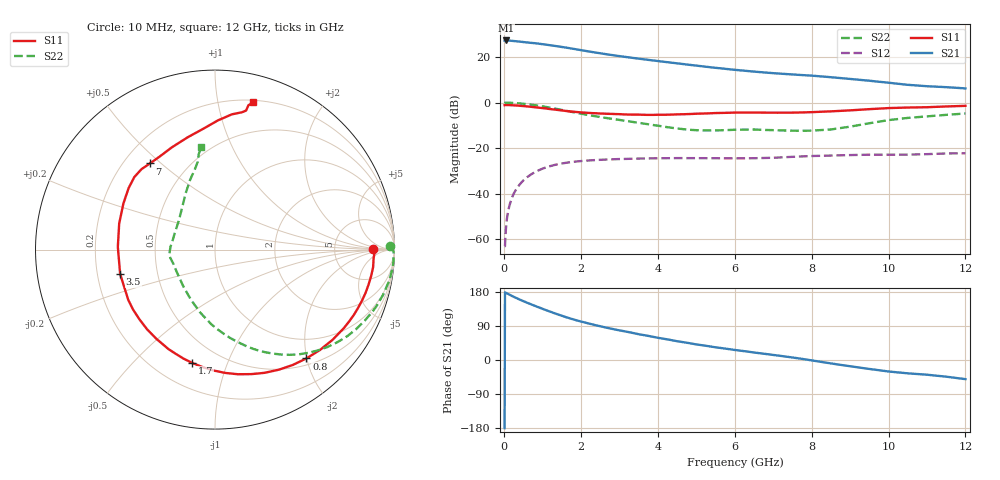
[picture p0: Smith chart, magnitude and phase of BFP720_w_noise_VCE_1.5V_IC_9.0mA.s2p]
! Infineon Technologies  Discrete & RF Semiconductors
! BFP720
! VCE =  1.5 V,  IC =  9.0 mA
! Common Emitter S-Parameters:  Aug 2012
# GHz  S  MA  R  50
!  f  S11  S21  S12  S22
! GHz  MAG  ANG  MAG  ANG  MAG  ANG  MAG  ANG
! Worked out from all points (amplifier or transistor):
!   105 points, 10 MHz to 12 GHz, reference 50 ohm
!   highest |S21| = 27.3 dB at 50 MHz (marker M1)
!   |S21| within 3 dB of that: start of sweep to 1.554 GHz
!   unconditionally stable (mu >= 1): 5.79 GHz to 11.5 GHz
!   at 300 MHz: K = 0.08, MSG = 32.7 dB, |S12| = -38.4 dB
!   at 3.6 GHz: K = 0.66, MSG = 21.8 dB, |S12| = -24.6 dB
!   at 12 GHz: K = 0.88, MSG = 14.3 dB, |S12| = -22.2 dB
!   lowest NFmin = 0.50 dB at 450 MHz
!   S11 on the Smith chart (normalised r, x): 10 MHz: 16, +0; 800 MHz: 0.61, -1.99; 1.7 GHz: 0.35, -0.76; 3.5 GHz: 0.30, -0.12; 7 GHz: 0.31, +0.46; 12 GHz: 0.21, +1.27
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0.01  0.8822 0.2  22.97 -179.7  0.0007 -41.5  0.9766 1.3
0.02  0.8884 -1.3  23 178.5  0.0007 98.4  0.9951 -0.7
0.05  0.8851 -3.2  23.29 177.0  0.0019 96.8  0.9952 -2.0
0.25  0.8729 -16.0  22.64 166.6  0.0101 81.4  0.9831 -10.8
0.4  0.8547 -25.3  21.97 159.6  0.0158 75.7  0.9605 -17.2
0.6  0.8256 -37.5  21.07 151.0  0.0231 68.8  0.9233 -25.4
0.8  0.7917 -50.0  20.28 142.8  0.0297 62.3  0.8804 -33.3
1  0.7578 -62.0  19.27 135.0  0.0355 56.1  0.8288 -40.9
1.2  0.7225 -73.8  18.27 127.4  0.0403 50.4  0.7745 -48.0
1.4  0.6896 -85.2  17.24 120.2  0.0444 45.1  0.7193 -54.6
1.7  0.6438 -101.4  15.74 110.2  0.0488 38.2  0.6395 -63.6
2.1  0.602 -119.0  13.79 98.9  0.0528 30.8  0.5512 -73.6
2.4  0.5835 -130.4  12.53 91.3  0.0549 26.3  0.4979 -80.5
2.7  0.5684 -140.5  11.46 84.5  0.0564 22.6  0.4541 -86.6
3.5  0.5457 -165.5  9.269 68.0  0.059 14.8  0.3608 -103.1
4.1  0.5414 175.7  8.024 56.9  0.06 10.3  0.3019 -117.8
5  0.5712 153.3  6.511 41.1  0.0603 4.7  0.2482 -147.5
6.1  0.6046 136.8  5.175 25.2  0.0598 1.4  0.2541 -170.4
7  0.6014 127.0  4.448 13.3  0.0614 1.1  0.2487 176.3
8.5  0.6435 103.8  3.625 -9.0  0.0687 -4.8  0.2573 141.8
10.5  0.7804 78.8  2.467 -35.2  0.0719 -13.7  0.4619 104.0
12  0.8508 75.4  2.057 -50.5  0.0772 -20.3  0.578 97.6
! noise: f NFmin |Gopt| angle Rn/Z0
0.45  0.5  0.31  1  0.2
1.8  0.56  0.29  20  0.12
2.4  0.62  0.24  42  0.27
5.5  0.76  0.12  33  0.15
10  0.95  0.4  -81  0.22
